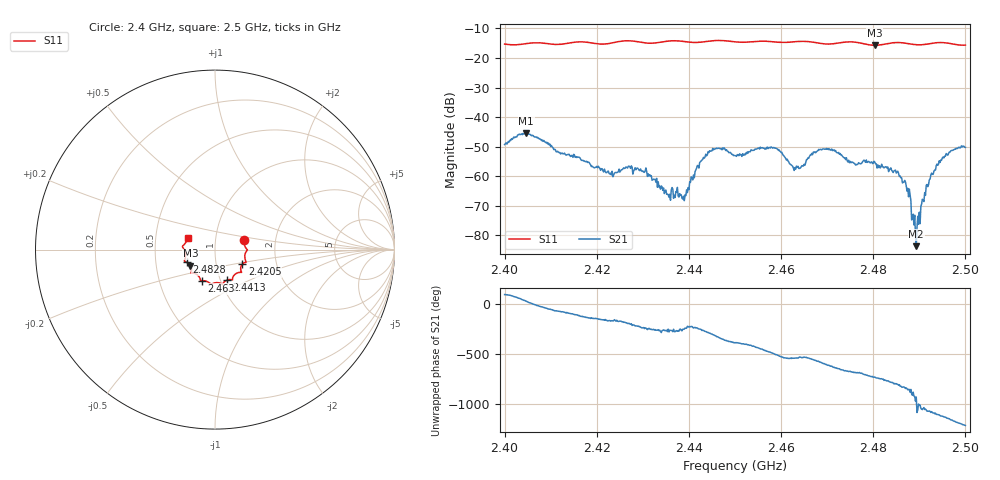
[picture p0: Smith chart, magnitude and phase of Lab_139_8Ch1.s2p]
# Hz S RI R 50
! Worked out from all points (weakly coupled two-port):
!   601 points, 2.4 GHz to 2.5 GHz, reference 50 ohm
!   highest |S21| = -45.48 dB at 2.4047 GHz (marker M1); lowest = -83.7 dB at 2.4893 GHz (marker M2)
!   lowest |S11| = -15.7 dB at 2.4803 GHz (marker M3), VSWR 1.39, Z = 37.4 - j6.84 ohm
!   |S11| at or under -10 dB: start of sweep to end of sweep
!   S12 and S22 are empty: the file has one direction only
!   S11 on the Smith chart (normalised r, x): 2.4 GHz: 1.38, +0.15; 2.4205 GHz: 1.34, -0.22; 2.4413 GHz: 1.08, -0.38; 2.463 GHz: 0.82, -0.29; 2.4828 GHz: 0.72, -0.10; 2.5 GHz: 0.73, +0.10
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2.4e9  0.1631 0.0526  6.85e-05 0.00343  0 0  0 0
2.404667e9  0.1744 0.00554  0.00491 0.00206  0 0  0 0
2.416667e9  0.1736 -0.0698  -0.00117 -0.00144  0 0  0 0
2.4205e9  0.1519 -0.0809  -0.0013 -0.000535  0 0  0 0
2.429167e9  0.1364 -0.1269  -0.000833 0.000957  0 0  0 0
2.433333e9  0.1004 -0.1514  -0.00014 0.000792  0 0  0 0
2.438833e9  0.0901 -0.1673  -0.000112 0.000444  0 0  0 0
2.441333e9  0.0676 -0.1696  -0.000661 0.001  0 0  0 0
2.4455e9  0.0425 -0.1915  0.00199 0.00206  0 0  0 0
2.45e9  0.0247 -0.1856  0.00198 -0.00103  0 0  0 0
2.458333e9  -0.0328 -0.1845  -0.00218 -0.00213  0 0  0 0
2.463e9  -0.0721 -0.1736  -0.0014 6.07e-05  0 0  0 0
2.466667e9  -0.0815 -0.1673  -0.00237 0.000558  0 0  0 0
2.4705e9  -0.103 -0.1375  -0.00072 0.0028  0 0  0 0
2.480333e9  -0.1372 -0.089  0.0017 -0.000306  0 0  0 0
2.482833e9  -0.1585 -0.0701  0.00102 -0.00102  0 0  0 0
2.483333e9  -0.1624 -0.0683  0.000775 -0.00091  0 0  0 0
2.487333e9  -0.1675 -0.0537  -0.000339 -0.000443  0 0  0 0
2.489333e9  -0.1642 -0.0314  -5.79e-05 3.08e-05  0 0  0 0
2.492e9  -0.1728 0.00141  0.000707 0.000132  0 0  0 0
2.494167e9  -0.1808 0.0157  0.00147 -0.000646  0 0  0 0
2.5e9  -0.1519 0.0639  -0.00198 -0.00235  0 0  0 0
